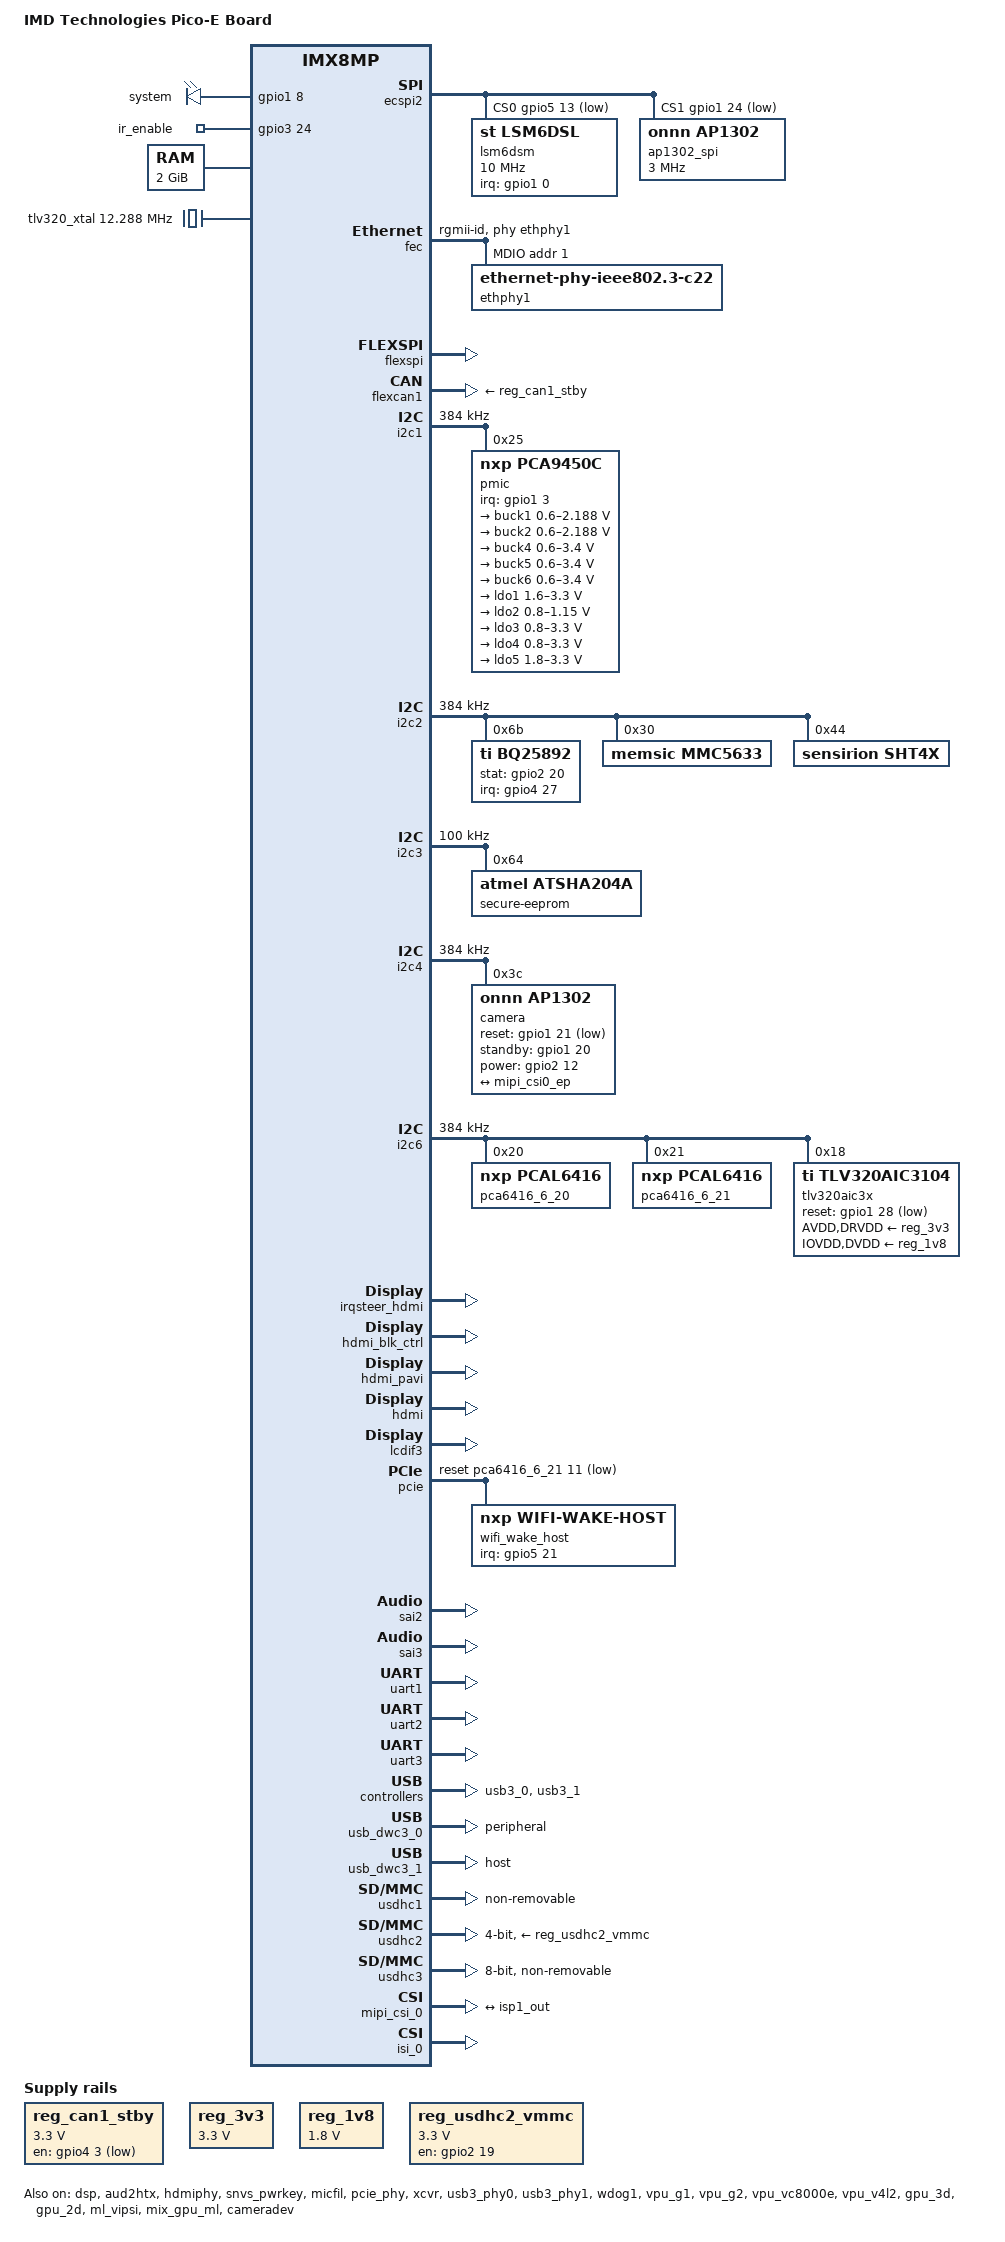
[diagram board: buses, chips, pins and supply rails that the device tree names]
// SPDX-License-Identifier: (GPL-2.0+ OR MIT)
/*
 * Copyright 2019 NXP
 * Copyright 2022 IMD Technologies
 */

/dts-v1/;

#include <dt-bindings/usb/pd.h>
#include "imx8mp.dtsi"

/ {
	model = "IMD Technologies Pico-E Board";
	compatible = "imdt,imx8mp-imdt-pico-e", "fsl,imx8mp";

	chosen {
		stdout-path = &uart2;
	};

	gpio-leds {
		compatible = "gpio-leds";
		pinctrl-names = "default";
		pinctrl-0 = <&pinctrl_gpio_led>;

		system {
			label = "system";
			gpios = <&gpio1 8 GPIO_ACTIVE_HIGH>;
			default-state = "on";
		};

		ir_enable {
			label = "ir_enable";
			gpios = <&gpio3 24 GPIO_ACTIVE_HIGH>;
			default-state = "off";
		};
	};

	memory@40000000 {
		device_type = "memory";
		reg = <0x0 0x40000000 0 0x80000000>;
	};

	resmem: reserved-memory {
		#address-cells = <2>;
		#size-cells = <2>;
		ranges;

		/* global autoconfigured region for contiguous allocations */
		linux,cma {
			compatible = "shared-dma-pool";
			reusable;
			size = <0 0x20000000>;
			alloc-ranges = <0 0x40000000 0 0x80000000>;
			linux,cma-default;
		};
	};

	reg_can1_stby: regulator-can1-stby {
		compatible = "regulator-fixed";
		regulator-name = "can1-stby";
		pinctrl-names = "default";
		pinctrl-0 = <&pinctrl_flexcan1_reg>;
		regulator-min-microvolt = <3300000>;
		regulator-max-microvolt = <3300000>;
		gpio = <&gpio4 3 GPIO_ACTIVE_LOW>;
	};

	reg_3v3: regulator-3v3 {
		compatible = "regulator-fixed";
		regulator-name = "REG_3V3";
		regulator-min-microvolt = <3300000>;
		regulator-max-microvolt = <3300000>;
		regulator-always-on;
	};

	reg_1v8: regulator-1v8 {
		compatible = "regulator-fixed";
		regulator-name = "REG_1v8";
		regulator-min-microvolt = <1800000>;
		regulator-max-microvolt = <1800000>;
		regulator-always-on;
	};


	reg_usdhc2_vmmc: regulator-usdhc2 {
		compatible = "regulator-fixed";
		pinctrl-names = "default";
		pinctrl-0 = <&pinctrl_reg_usdhc2_vmmc>;
		regulator-name = "VSD_3V3";
		regulator-min-microvolt = <3300000>;
		regulator-max-microvolt = <3300000>;
		gpio = <&gpio2 19 GPIO_ACTIVE_HIGH>;
		enable-active-high;
	};
/*
	amp: analog-amplifier {
		compatible = "simple-audio-amplifier";
		enable-gpios = <&gpio 17 0>;
		VCC-supply = <&vdd_3v3_reg>;
	};
*/
	
	sound-hdmi {
		compatible = "fsl,imx-audio-cdnhdmi";
		model = "audio-hdmi";
		audio-cpu = <&aud2htx>;
		hdmi-out;
		constraint-rate = <44100>,
				<88200>,
				<176400>,
				<32000>,
				<48000>,
				<96000>,
				<192000>;
		status = "okay";
	};
	
	sound-micfil {
		compatible = "fsl,imx-audio-micfil";
		model = "imx-audio-micfil";
		cpu-dai = <&micfil>;
	};

	sound-xcvr {
		compatible = "fsl,imx-audio-xcvr";
		model = "imx-audio-xcvr";
		cpu-dai = <&xcvr>;
	};


	tlv320_xtal: tlv320_xtal {
		compatible = "fixed-clock";
		#clock-cells = <0>;
		clock-frequency = <12288000>;
	};

	sound-tlv320{
		compatible = "simple-audio-card";
		simple-audio-card,name = "sound-card-tlv320aic3101";
		simple-audio-card,format = "i2s";
		simple-audio-card,bitclock-master = <&dailink_master>;
		simple-audio-card,frame-master = <&dailink_master>;
		simple-audio-card,widgets =
			"Microphone", "Microphone Jack",
			"Headphone", "Headphone Jack";
		simple-audio-card,routing =
			"Headphone Jack", "HPLOUT",
			"Headphone Jack", "HPROUT",
			"MIC2R", "Microphone Jack",
			"Microphone Jack", "Mic Bias";

		simple-audio-card,cpu {
			sound-dai = <&sai3>;
		};

		dailink_master: simple-audio-card,codec {
			sound-dai = <&tlv320aic3x>;
		};
	};

};


&A53_0 {
	cpu-supply = <&buck2>;
};

&A53_1 {
	cpu-supply = <&buck2>;
};

&A53_2 {
	cpu-supply = <&buck2>;
};

&A53_3 {
	cpu-supply = <&buck2>;
};

&dsp {
	status = "okay";
};

&pwm1 {
	status = "disabled";
};

&pwm2 {
	status = "disabled";
};

&pwm4 {
	status = "disabled";
};

&aud2htx {
	status = "okay";
};

&ecspi2 {
	#address-cells = <1>;
	#size-cells = <0>;
	fsl,spi-num-chipselects = <2>;
	pinctrl-names = "default";
	pinctrl-0 = <&pinctrl_ecspi2 &pinctrl_ecspi2_cs>;
	cs-gpios = <&gpio5 13 GPIO_ACTIVE_LOW>, <&gpio1 24 GPIO_ACTIVE_LOW>;
	status = "okay";

	/* IMU */
	lsm6dsm {
		compatible = "st,lsm6dsl";
		reg = <0>;
		pinctrl-0 = <&pinctrl_imu>;
		spi-max-frequency = <10000000>;
		interrupt-parent = <&gpio1>;
		interrupts = <0 IRQ_TYPE_EDGE_RISING>;
		st,drdy-int-pin = <1>;
	};


	ap1302_spi {
		compatible = "onnn,ap1302";
		spi-max-frequency = <3000000>;
		reg = <1>;
	};
};

&fec {
	pinctrl-names = "default";
	pinctrl-0 = <&pinctrl_fec>;
	phy-mode = "rgmii-id";
	phy-handle = <&ethphy1>;
	fsl,magic-packet;
	status = "okay";

	mdio {
		#address-cells = <1>;
		#size-cells = <0>;

		ethphy1: ethernet-phy@1 {
			compatible = "ethernet-phy-ieee802.3-c22";
			reg = <1>;
			eee-broken-1000t;
			rtl821x,clkout-disable;
		};
	};
};

&flexspi {
	pinctrl-names = "default";
	pinctrl-0 = <&pinctrl_flexspi0>;
	status = "okay";
};


&flexcan1 {
	pinctrl-names = "default";
	pinctrl-0 = <&pinctrl_flexcan1>;
	xceiver-supply = <&reg_can1_stby>;
	status = "okay";
};

&i2c1 {
	clock-frequency = <384000>;
	pinctrl-names = "default";
	pinctrl-0 = <&pinctrl_i2c1>;
	status = "okay";

	pmic: pca9450@25 {
		reg = <0x25>;
		compatible = "nxp,pca9450c";
		/* PMIC PCA9450 PMIC_nINT GPIO1_IO3 */
		pinctrl-0 = <&pinctrl_pmic>;
		interrupt-parent = <&gpio1>;
		interrupts = <3 GPIO_ACTIVE_LOW>;

		regulators {
			buck1: BUCK1 {
				regulator-name = "BUCK1";
				regulator-min-microvolt = <600000>;
				regulator-max-microvolt = <2187500>;
				regulator-boot-on;
				regulator-always-on;
				regulator-ramp-delay = <3125>;
			};

			buck2: BUCK2 {
				regulator-name = "BUCK2";
				regulator-min-microvolt = <600000>;
				regulator-max-microvolt = <2187500>;
				regulator-boot-on;
				regulator-always-on;
				regulator-ramp-delay = <3125>;
				nxp,dvs-run-voltage = <950000>;
				nxp,dvs-standby-voltage = <850000>;
			};

			buck4: BUCK4{
				regulator-name = "BUCK4";
				regulator-min-microvolt = <600000>;
				regulator-max-microvolt = <3400000>;
				regulator-boot-on;
				regulator-always-on;
			};

			buck5: BUCK5{
				regulator-name = "BUCK5";
				regulator-min-microvolt = <600000>;
				regulator-max-microvolt = <3400000>;
				regulator-boot-on;
				regulator-always-on;
			};

			buck6: BUCK6 {
				regulator-name = "BUCK6";
				regulator-min-microvolt = <600000>;
				regulator-max-microvolt = <3400000>;
				regulator-boot-on;
				regulator-always-on;
			};

			ldo1: LDO1 {
				regulator-name = "LDO1";
				regulator-min-microvolt = <1600000>;
				regulator-max-microvolt = <3300000>;
				regulator-boot-on;
				regulator-always-on;
			};

			ldo2: LDO2 {
				regulator-name = "LDO2";
				regulator-min-microvolt = <800000>;
				regulator-max-microvolt = <1150000>;
				regulator-boot-on;
				regulator-always-on;
			};

			ldo3: LDO3 {
				regulator-name = "LDO3";
				regulator-min-microvolt = <800000>;
				regulator-max-microvolt = <3300000>;
				regulator-boot-on;
				regulator-always-on;
			};

			ldo4: LDO4 {
				regulator-name = "LDO4";
				regulator-min-microvolt = <800000>;
				regulator-max-microvolt = <3300000>;
				regulator-boot-on;
				regulator-always-on;
			};

			ldo5: LDO5 {
				regulator-name = "LDO5";
				regulator-min-microvolt = <1800000>;
				regulator-max-microvolt = <3300000>;
				regulator-boot-on;
				regulator-always-on;
			};
		};
	};
};

&i2c2 {
	clock-frequency = <384000>;
	pinctrl-names = "default";
	pinctrl-0 = <&pinctrl_i2c2>;
	status = "okay";

	bq25892 {
		compatible = "ti,bq25892";
		reg = <0x6b>;
		pinctrl-0 = <&pinctrl_bq25892>;

		interrupt-parent = <&gpio4>;
		interrupts = <27 IRQ_TYPE_EDGE_FALLING>;

		stat-gpios = <&gpio2 20 GPIO_ACTIVE_HIGH>;

		ti,battery-regulation-voltage = <4200000>;
		ti,charge-current = <1000000>;
		ti,termination-current = <50000>;
		ti,precharge-current = <128000>;
		ti,minimum-sys-voltage = <3600000>;
		ti,boost-voltage = <5000000>;
		ti,boost-max-current = <500000>;

		ti,use-ilim-pin;
		ti,thermal-regulation-threshold = <120>;
	};

	mmc5633 {
		compatible = "memsic,mmc5633";
		reg = <0x30>;
	};

	sht4x {
		compatible = "sensirion,sht4x";
		reg = <0x44>;
	};
};

&i2c3 {
	clock-frequency = <100000>;
	pinctrl-names = "default";
	pinctrl-0 = <&pinctrl_i2c3>;
	status = "okay";

	secure-eeprom@64 {
		compatible = "atmel,atsha204a";
		reg = <0x64>;
	};
};

&i2c4 {
	clock-frequency = <384000>;
	pinctrl-names = "default";
	pinctrl-0 = <&pinctrl_i2c4>;
	status = "okay";

	camera@3c {
		compatible = "onnn,ap1302";
		reg = <0x3c>;

		pinctrl-names = "default";
		pinctrl-0 = <&pinctrl_csi0_pwn>, <&pinctrl_csi0_stby>, <&pinctrl_csi0_rst>, <&pinctrl_csi_mclk>;

		clocks = <&clk IMX8MP_CLK_IPP_DO_CLKO2>;
		clock-names = "csi_mclk";
		assigned-clocks = <&clk IMX8MP_CLK_IPP_DO_CLKO2>;
		assigned-clock-parents = <&clk IMX8MP_CLK_24M>;
		assigned-clock-rates = <24000000>;

		reset-gpios = <&gpio1 21 GPIO_ACTIVE_LOW>;
		standby-gpios = <&gpio1 20 GPIO_ACTIVE_HIGH>;
		power-gpios = <&gpio2 12 GPIO_ACTIVE_HIGH>;

		port {
			isp1_out: endpoint {
				remote-endpoint = <&mipi_csi0_ep>;
				data-lanes = <1 2 3 4>;
			};
		};

		sensors {
			#address-cells = <1>;
			#size-cells = <0>;

			onnn,model = "onnn,ar1335";

			sensor@0 {
				reg = <0>;
			};
		};
	};
};

&i2c5 {
	status = "disabled";
};

&i2c6 {
	clock-frequency = <384000>;
	pinctrl-names = "default";
	pinctrl-0 = <&pinctrl_i2c6>;
	status = "okay";

	pca6416_6_20: gpio@20 {
		compatible = "nxp,pcal6416";
		reg = <0x20>;
		gpio-controller;
		#gpio-cells = <2>;

		gpio-line-names =
			"RGMII_CONN_GPIO0",
			"RGMII_CONN_GPIO1",
			"GBE_RSTn",
			"GBE_nINT",
			"TP657",
			"RS232_DIS_3V3",
			"RS232_INVALIDn",
			"TP658",

			"PCIe_SEL_3V3",
			"D_AMP_FAULT",
			"D_AMP_Mute3V3",
			"HDMI_DISABLE",
			"HDMI_FAULT",
			"UART_SEL0",
			"UART_SEL1",
			"TP659";

		uart-sel0-hog {
			gpio-hog;
			gpios = <13 GPIO_ACTIVE_HIGH>;
			output-high;
		};

		uart-sel1-hog {
			gpio-hog;
			gpios = <14 GPIO_ACTIVE_HIGH>;
			output-low;
		};

		rs-dis-hog {
			gpio-hog;
			gpios = <5 GPIO_ACTIVE_HIGH>;
			output-low;
		};
	};

	pca6416_6_21: gpio@21 {
		compatible = "nxp,pcal6416";
		reg = <0x21>;
		gpio-controller;
		#gpio-cells = <2>;

		gpio-line-names =
			"M2B_CONFIG_0",
			"M2B_CONFIG_1",
			"M2B_CONFIG_2",
			"M2B_CONFIG_3",
			"M2B_CARD_ONOFFn",
			"M2B_PCIeRST",
			"M2B_PEWAKE_3V3n",
			"M2B_W_DISABLE2n",
			
			"M2B_WAKE_UP",
			"M2B_RSTn",
			"M2B_DPR",
			"M2B_FLIGHT_MODE",
			"M2E_PEWAKE_3V3",
			"M2E_PERST0",
			"M2E_BT_ENn",
			"M2E_WLAN_ENn";
	};

	tlv320aic3x: codec@18 {
		#sound-dai-cells = <0>;
		/* Our codec is 3101. much closer to the 3104, than using 3x*/
		compatible = "ti,tlv320aic3104";
		pinctrl-names = "default";
		pinctrl-0 = <&pinctrl_aud_codec_nrst>;
		clocks = <&tlv320_xtal>;
		reg = <0x18>;
		reset-gpios = <&gpio1 28 GPIO_ACTIVE_LOW>;
		ai3x-micbias-vg = <1>;
		AVDD-supply = <&reg_3v3>;
		IOVDD-supply = <&reg_1v8>;
		DRVDD-supply = <&reg_3v3>;
		DVDD-supply = <&reg_1v8>;
	};

};

&irqsteer_hdmi {
	status = "okay";
};

&hdmi_blk_ctrl {
	status = "okay";
};

&hdmi_pavi {
	status = "okay";
};

&hdmi {
	status = "okay";
};

&hdmiphy {
	status = "okay";
};

&lcdif1 {
	status = "disabled";
};

&lcdif2 {
	status = "disabled";
};

&lcdif3 {
	status = "okay";

	thres-low  = <1 2>;             /* (FIFO * 1 / 2) */
	thres-high = <3 4>;             /* (FIFO * 3 / 4) */
};


&ldb {
	status = "disabled";
};

&ldb_phy {
	status = "disabled";
};

&mipi_dsi {
	status = "disabled";
};

&snvs_pwrkey {
	status = "okay";
};
/*
&easrc {
	fsl,asrc-rate  = <48000>;
	status = "okay";
};
*/
&micfil {
	pinctrl-names = "default";
	pinctrl-0 = <&pinctrl_pdm>;
	assigned-clocks = <&clk IMX8MP_CLK_PDM>;
	assigned-clock-parents = <&clk IMX8MP_AUDIO_PLL1_OUT>;
	assigned-clock-rates = <196608000>;
	status = "okay";
};

&pcie{
	pinctrl-names = "default";
	/* pinctrl-0 = <&pinctrl_pcie>; */

	/* disable-gpio = <&pca6416_6_20 10 GPIO_ACTIVE_LOW>; */
	reset-gpio = <&pca6416_6_21 11 GPIO_ACTIVE_LOW>;
	ext_osc = <1>;
	clocks = <&clk IMX8MP_CLK_HSIO_ROOT>,
		 <&clk IMX8MP_CLK_PCIE_AUX>,
		 <&clk IMX8MP_CLK_HSIO_AXI>,
		 <&clk IMX8MP_CLK_PCIE_ROOT>;
	clock-names = "pcie", "pcie_aux", "pcie_phy", "pcie_bus";
	assigned-clocks = <&clk IMX8MP_CLK_HSIO_AXI>,
			  <&clk IMX8MP_CLK_PCIE_AUX>;
	assigned-clock-rates = <500000000>, <10000000>;
	assigned-clock-parents = <&clk IMX8MP_SYS_PLL2_500M>,
				 <&clk IMX8MP_SYS_PLL2_50M>;
	l1ss-disabled;
	status = "okay";

	wifi_wake_host {
		compatible = "nxp,wifi-wake-host";
		interrupt-parent = <&gpio5>;
		interrupts = <21 IRQ_TYPE_LEVEL_LOW>;
		interrupt-names = "host-wake";
	};
};

&pcie_ep{
	pinctrl-names = "default";
	/* pinctrl-0 = <&pinctrl_pcie>; */
	ext_osc = <1>;
	clocks = <&clk IMX8MP_CLK_HSIO_ROOT>,
		 <&clk IMX8MP_CLK_PCIE_AUX>,
		 <&clk IMX8MP_CLK_HSIO_AXI>,
		 <&clk IMX8MP_CLK_PCIE_ROOT>;
	clock-names = "pcie", "pcie_aux", "pcie_phy", "pcie_bus";
	assigned-clocks = <&clk IMX8MP_CLK_HSIO_AXI>,
			  <&clk IMX8MP_CLK_PCIE_AUX>;
	assigned-clock-rates = <500000000>, <10000000>;
	assigned-clock-parents = <&clk IMX8MP_SYS_PLL2_500M>,
				 <&clk IMX8MP_SYS_PLL2_50M>;
	status = "disabled";
};

&pcie_phy{
	ext_osc = <1>;
	status = "okay";
};

&sai2 {
	#sound-dai-cells = <0>;
	status = "okay";
};


&sai3 {
	#sound-dai-cells = <0>;
	pinctrl-names = "default";
	pinctrl-0 = <&pinctrl_sai3>;
	/*fsl,sai-mclk-direction-output;*/
	/*fsl,sai-synchronous;*/
	status = "okay";
};

&xcvr {
	#sound-dai-cells = <0>;
	status = "okay";
};

&sdma2 {
	status = "okay";
};

&uart1 {
	/* Bluetooth */
	pinctrl-names = "default";
	pinctrl-0 = <&pinctrl_uart1>;
	assigned-clocks = <&clk IMX8MP_CLK_UART1>;
	assigned-clock-parents = <&clk IMX8MP_SYS_PLL1_80M>;
	fsl,uart-has-rtscts;
	status = "okay";
};

&uart2 {
	/* Serial console */
	pinctrl-names = "default";
	pinctrl-0 = <&pinctrl_uart2>;
	status = "okay";
};

&uart3 {
	/* Cellular */
	pinctrl-names = "default";
	pinctrl-0 = <&pinctrl_uart3>;
	assigned-clocks = <&clk IMX8MP_CLK_UART3>;
	assigned-clock-parents = <&clk IMX8MP_SYS_PLL1_80M>;
	status = "okay";
};

&usb3_phy0 {
	fsl,phy-tx-vref-tune = <0xe>;
	fsl,phy-tx-preemp-amp-tune = <3>;
	fsl,phy-tx-vboost-level = <5>;
	fsl,phy-comp-dis-tune = <7>;
	fsl,pcs-tx-deemph-3p5db = <0x21>;
	fsl,phy-pcs-tx-swing-full = <0x7f>;
	status = "okay";
};

&usb3_0 {
	status = "okay";
};

&usb_dwc3_0 {
	dr_mode = "peripheral";
	hnp-disable;
	srp-disable;
	adp-disable;
	status = "okay";
};

&usb3_phy1 {
	fsl,phy-tx-preemp-amp-tune = <3>;
	fsl,phy-tx-vref-tune = <0xb>;
	status = "okay";
};

&usb3_1 {
	status = "okay";
};

&usb_dwc3_1 {
	pinctrl-names = "default";
	pinctrl-0 = <&pinctrl_usb1_vbus>;
	dr_mode = "host";
	status = "okay";
};

&usdhc1 {
	pinctrl-assert-gpios = <&gpio1 16 GPIO_ACTIVE_HIGH>;
	pinctrl-names = "default", "state_100mhz", "state_200mhz";
	pinctrl-0 = <&pinctrl_usdhc1>;
	pinctrl-1 = <&pinctrl_usdhc1_100mhz>;
	pinctrl-2 = <&pinctrl_usdhc1_200mhz>;
	keep-power-in-suspend;
	non-removable;
	wakeup-source;
	/*mmc-pwrseq = <&usdhc1_pwrseq>;*/
	fsl,sdio-interrupt-enabled;
	status = "okay";
};


&usdhc2 {
	/* Micro SD card */
	assigned-clocks = <&clk IMX8MP_CLK_USDHC2>;
	assigned-clock-rates = <400000000>;
	pinctrl-names = "default", "state_100mhz", "state_200mhz";
	pinctrl-0 = <&pinctrl_usdhc2>;
	pinctrl-1 = <&pinctrl_usdhc2_100mhz>;
	pinctrl-2 = <&pinctrl_usdhc2_200mhz>;
	vmmc-supply = <&reg_usdhc2_vmmc>;
	bus-width = <4>;
	status = "okay";
};

&usdhc3 {
	/* eMMC */
	assigned-clocks = <&clk IMX8MP_CLK_USDHC3>;
	assigned-clock-rates = <400000000>;
	pinctrl-names = "default", "state_100mhz", "state_200mhz";
	pinctrl-0 = <&pinctrl_usdhc3>;
	pinctrl-1 = <&pinctrl_usdhc3_100mhz>;
	pinctrl-2 = <&pinctrl_usdhc3_200mhz>;
	bus-width = <8>;
	non-removable;
	status = "okay";
};

&wdog1 {
	pinctrl-names = "default";
	pinctrl-0 = <&pinctrl_wdog>;
	fsl,ext-reset-output;
	status = "okay";
};

&iomuxc {
	pinctrl-names = "default";
	pinctrl-0 = <&pinctrl_hog>;

	pinctrl_hog: hoggrp {
		fsl,pins = <
			MX8MP_IOMUXC_HDMI_DDC_SCL__HDMIMIX_HDMI_SCL	0x400001c3
			MX8MP_IOMUXC_HDMI_DDC_SDA__HDMIMIX_HDMI_SDA	0x400001c3
			MX8MP_IOMUXC_HDMI_HPD__HDMIMIX_HDMI_HPD		0x40000019
			MX8MP_IOMUXC_HDMI_CEC__HDMIMIX_HDMI_CEC		0x40000019
			MX8MP_IOMUXC_GPIO1_IO05__GPIO1_IO05		0x106 /* PER_PD_DIS:  Power for Peripherals domain. Should be low (0x106). */
			MX8MP_IOMUXC_SAI1_RXD0__GPIO4_IO02		0x146 /* M2_PD_EN: M.2 Power enable, (set high to enable 0x146). */
			MX8MP_IOMUXC_SAI2_TXFS__GPIO4_IO24		0x06  /*m2e coex?*/
		>;
	};

	pinctrl_ecspi2: ecspi2grp {
		fsl,pins = <
			MX8MP_IOMUXC_ECSPI2_SCLK__ECSPI2_SCLK		0x82
			MX8MP_IOMUXC_ECSPI2_MOSI__ECSPI2_MOSI		0x82
			MX8MP_IOMUXC_ECSPI2_MISO__ECSPI2_MISO		0x82
		>;
	};

	pinctrl_ecspi2_cs: ecspi2cs {
		fsl,pins = <
			MX8MP_IOMUXC_ECSPI2_SS0__GPIO5_IO13		0x40000
			MX8MP_IOMUXC_ENET_RX_CTL__GPIO1_IO24		0x40000
		>;
	};
	
	pinctrl_fec: fecgrp {
		fsl,pins = <
			MX8MP_IOMUXC_SAI1_RXD2__ENET1_MDC		0x3
			MX8MP_IOMUXC_SAI1_RXD3__ENET1_MDIO		0x3
			MX8MP_IOMUXC_SAI1_RXD4__ENET1_RGMII_RD0		0x91
			MX8MP_IOMUXC_SAI1_RXD5__ENET1_RGMII_RD1		0x91
			MX8MP_IOMUXC_SAI1_RXD6__ENET1_RGMII_RD2		0x91
			MX8MP_IOMUXC_SAI1_RXD7__ENET1_RGMII_RD3		0x91
			MX8MP_IOMUXC_SAI1_TXC__ENET1_RGMII_RXC		0x91
			MX8MP_IOMUXC_SAI1_TXFS__ENET1_RGMII_RX_CTL	0x91
			MX8MP_IOMUXC_SAI1_TXD0__ENET1_RGMII_TD0		0x1f
			MX8MP_IOMUXC_SAI1_TXD1__ENET1_RGMII_TD1		0x1f
			MX8MP_IOMUXC_SAI1_TXD2__ENET1_RGMII_TD2		0x1f
			MX8MP_IOMUXC_SAI1_TXD3__ENET1_RGMII_TD3		0x1f
			MX8MP_IOMUXC_SAI1_TXD4__ENET1_RGMII_TX_CTL	0x1f
			MX8MP_IOMUXC_SAI1_TXD5__ENET1_RGMII_TXC		0x1f
		>;
	};

	pinctrl_flexcan1: flexcan1grp {
		fsl,pins = <
			MX8MP_IOMUXC_SAI5_RXD2__CAN1_RX          0x154
			MX8MP_IOMUXC_SAI5_RXD1__CAN1_TX          0x154
		>;
	};


	pinctrl_flexcan1_reg: flexcan1reggrp {
		fsl,pins = <
			MX8MP_IOMUXC_SAI1_RXD1__GPIO4_IO03	0x154	/* CAN1_STBY */
		>;
	};

	pinctrl_flexspi0: flexspi0grp {
		fsl,pins = <
			MX8MP_IOMUXC_NAND_ALE__FLEXSPI_A_SCLK           0x1c2
			MX8MP_IOMUXC_NAND_CE0_B__FLEXSPI_A_SS0_B        0x82
			MX8MP_IOMUXC_NAND_DATA00__FLEXSPI_A_DATA00      0x82
			MX8MP_IOMUXC_NAND_DATA01__FLEXSPI_A_DATA01      0x82
		>;
	};

	pinctrl_gpio_led: gpioledgrp {
		fsl,pins = <
			MX8MP_IOMUXC_GPIO1_IO08__GPIO1_IO08		0x19
			MX8MP_IOMUXC_SAI5_RXD3__GPIO3_IO24		0x19
		>;
	};

	pinctrl_i2c1: i2c1grp {
		fsl,pins = <
			MX8MP_IOMUXC_I2C1_SCL__I2C1_SCL		0x400001c2
			MX8MP_IOMUXC_I2C1_SDA__I2C1_SDA		0x400001c2
		>;
	};

	pinctrl_i2c2: i2c2grp {
		fsl,pins = <
			MX8MP_IOMUXC_I2C2_SCL__I2C2_SCL		0x400001c2
			MX8MP_IOMUXC_I2C2_SDA__I2C2_SDA		0x400001c2
		>;
	};

	pinctrl_i2c3: i2c3grp {
		fsl,pins = <
			MX8MP_IOMUXC_I2C3_SCL__I2C3_SCL		0x400001c2
			MX8MP_IOMUXC_I2C3_SDA__I2C3_SDA		0x400001c2
		>;
	};

	pinctrl_i2c4: i2c4grp {
		fsl,pins = <
			MX8MP_IOMUXC_I2C4_SCL__I2C4_SCL		0x400001c2
			MX8MP_IOMUXC_I2C4_SDA__I2C4_SDA		0x400001c2
		>;
	};
/*
	pinctrl_i2c5: i2c5grp {
		fsl,pins = <
			MX8MP_IOMUXC_HDMI_DDC_SCL__I2C5_SCL		0x400001c2
			MX8MP_IOMUXC_HDMI_DDC_SDA__I2C5_SDA		0x400001c2
		>;
	};
*/
	pinctrl_i2c6: i2c6grp {
		fsl,pins = <
			MX8MP_IOMUXC_SAI5_RXFS__I2C6_SCL	0x400001c2
			MX8MP_IOMUXC_SAI5_RXC__I2C6_SDA		0x400001c2
		>;
	};

	pinctrl_pmic: pmicirq {
		fsl,pins = <
			MX8MP_IOMUXC_GPIO1_IO03__GPIO1_IO03	0x41
		>;
	};

	pinctrl_reg_usdhc2_vmmc: regusdhc2vmmcgrp {
		fsl,pins = <
			MX8MP_IOMUXC_SD2_RESET_B__GPIO2_IO19	0x41
		>;
	};

	pinctrl_bq25892: bq25892irq {
		fsl,pins = <
			MX8MP_IOMUXC_SAI2_MCLK__GPIO4_IO27		0x1c4
			MX8MP_IOMUXC_SD2_WP__GPIO2_IO20			0x1c4
		>;
	};

	pinctrl_imu: imuirq {
		fsl,pins = <
			MX8MP_IOMUXC_GPIO1_IO00__GPIO1_IO00		0x4
		>;
	};

	pinctrl_pdm: pdmgrp {
		fsl,pins = <
			MX8MP_IOMUXC_SAI3_RXC__AUDIOMIX_PDM_CLK			0xd6
			MX8MP_IOMUXC_SAI3_RXFS__AUDIOMIX_PDM_BIT_STREAM00	0xd6
		>;
	};

	pinctrl_sai3: sai3_grp {
		fsl,pins = <
			MX8MP_IOMUXC_SAI3_TXFS__AUDIOMIX_SAI3_TX_SYNC		0xd6
			MX8MP_IOMUXC_SAI3_TXC__AUDIOMIX_SAI3_TX_BCLK		0xd6
			MX8MP_IOMUXC_SAI3_RXD__AUDIOMIX_SAI3_RX_DATA00		0xd6
			MX8MP_IOMUXC_SAI3_TXD__AUDIOMIX_SAI3_TX_DATA00		0xd6
			MX8MP_IOMUXC_SAI3_MCLK__AUDIOMIX_SAI3_MCLK		0xd6
		>;
	};

	pinctrl_uart1: uart1grp {
		fsl,pins = <
			MX8MP_IOMUXC_UART1_RXD__UART1_DCE_RX	0x140
			MX8MP_IOMUXC_UART1_TXD__UART1_DCE_TX	0x140
			MX8MP_IOMUXC_UART3_RXD__UART1_DCE_CTS	0x140
			MX8MP_IOMUXC_UART3_TXD__UART1_DCE_RTS	0x140
		>;
	};

	pinctrl_uart2: uart2grp {
		fsl,pins = <
			MX8MP_IOMUXC_UART2_RXD__UART2_DCE_RX	0x49
			MX8MP_IOMUXC_UART2_TXD__UART2_DCE_TX	0x49
		>;
	};

	pinctrl_uart3: uart3grp {
		fsl,pins = <
			MX8MP_IOMUXC_SD1_DATA7__UART3_DCE_RX		0x140
			MX8MP_IOMUXC_SD1_DATA6__UART3_DCE_TX		0x140
		>;
	};

	pinctrl_usb1_vbus: usb1grp {
		fsl,pins = <
			MX8MP_IOMUXC_GPIO1_IO14__USB2_PWR		0x19
		>;
	};

	pinctrl_usdhc1: usdhc1grp {
		fsl,pins = <
			MX8MP_IOMUXC_SD1_CLK__USDHC1_CLK		0x190
			MX8MP_IOMUXC_SD1_CMD__USDHC1_CMD		0x1d0
			MX8MP_IOMUXC_SD1_DATA0__USDHC1_DATA0		0x1d0
			MX8MP_IOMUXC_SD1_DATA1__USDHC1_DATA1		0x1d0
			MX8MP_IOMUXC_SD1_DATA2__USDHC1_DATA2		0x1d0
			MX8MP_IOMUXC_SD1_DATA3__USDHC1_DATA3		0x1d0
		>;
	};

	pinctrl_usdhc1_100mhz: usdhc1-100mhzgrp {
		fsl,pins = <
			MX8MP_IOMUXC_SD1_CLK__USDHC1_CLK		0x194
			MX8MP_IOMUXC_SD1_CMD__USDHC1_CMD		0x1d4
			MX8MP_IOMUXC_SD1_DATA0__USDHC1_DATA0		0x1d4
			MX8MP_IOMUXC_SD1_DATA1__USDHC1_DATA1		0x1d4
			MX8MP_IOMUXC_SD1_DATA2__USDHC1_DATA2		0x1d4
			MX8MP_IOMUXC_SD1_DATA3__USDHC1_DATA3		0x1d4
		>;
	};

	pinctrl_usdhc1_200mhz: usdhc1-200mhzgrp {
		fsl,pins = <
			MX8MP_IOMUXC_SD1_CLK__USDHC1_CLK		0x196
			MX8MP_IOMUXC_SD1_CMD__USDHC1_CMD		0x1d6
			MX8MP_IOMUXC_SD1_DATA0__USDHC1_DATA0		0x1d6
			MX8MP_IOMUXC_SD1_DATA1__USDHC1_DATA1		0x1d6
			MX8MP_IOMUXC_SD1_DATA2__USDHC1_DATA2		0x1d6
			MX8MP_IOMUXC_SD1_DATA3__USDHC1_DATA3		0x1d6
		>;
	};

	pinctrl_usdhc2: usdhc2grp {
		fsl,pins = <
			MX8MP_IOMUXC_SD2_CLK__USDHC2_CLK		0x190
			MX8MP_IOMUXC_SD2_CMD__USDHC2_CMD		0x1d0
			MX8MP_IOMUXC_SD2_DATA0__USDHC2_DATA0		0x1d0
			MX8MP_IOMUXC_SD2_DATA1__USDHC2_DATA1		0x1d0
			MX8MP_IOMUXC_SD2_DATA2__USDHC2_DATA2		0x1d0
			MX8MP_IOMUXC_SD2_DATA3__USDHC2_DATA3		0x1d0
			MX8MP_IOMUXC_GPIO1_IO04__USDHC2_VSELECT		0xc1
		>;
	};

	pinctrl_usdhc2_100mhz: usdhc2-100mhzgrp {
		fsl,pins = <
			MX8MP_IOMUXC_SD2_CLK__USDHC2_CLK		0x194
			MX8MP_IOMUXC_SD2_CMD__USDHC2_CMD		0x1d4
			MX8MP_IOMUXC_SD2_DATA0__USDHC2_DATA0		0x1d4
			MX8MP_IOMUXC_SD2_DATA1__USDHC2_DATA1		0x1d4
			MX8MP_IOMUXC_SD2_DATA2__USDHC2_DATA2		0x1d4
			MX8MP_IOMUXC_SD2_DATA3__USDHC2_DATA3		0x1d4
			MX8MP_IOMUXC_GPIO1_IO04__USDHC2_VSELECT 	0xc1
		>;
	};

	pinctrl_usdhc2_200mhz: usdhc2-200mhzgrp {
		fsl,pins = <
			MX8MP_IOMUXC_SD2_CLK__USDHC2_CLK		0x196
			MX8MP_IOMUXC_SD2_CMD__USDHC2_CMD		0x1d6
			MX8MP_IOMUXC_SD2_DATA0__USDHC2_DATA0		0x1d6
			MX8MP_IOMUXC_SD2_DATA1__USDHC2_DATA1		0x1d6
			MX8MP_IOMUXC_SD2_DATA2__USDHC2_DATA2		0x1d6
			MX8MP_IOMUXC_SD2_DATA3__USDHC2_DATA3		0x1d6
			MX8MP_IOMUXC_GPIO1_IO04__USDHC2_VSELECT 	0xc1
		>;
	};

	pinctrl_usdhc3: usdhc3grp {
		fsl,pins = <
			MX8MP_IOMUXC_NAND_WE_B__USDHC3_CLK		0x190
			MX8MP_IOMUXC_NAND_WP_B__USDHC3_CMD		0x1d0
			MX8MP_IOMUXC_NAND_DATA04__USDHC3_DATA0		0x1d0
			MX8MP_IOMUXC_NAND_DATA05__USDHC3_DATA1		0x1d0
			MX8MP_IOMUXC_NAND_DATA06__USDHC3_DATA2		0x1d0
			MX8MP_IOMUXC_NAND_DATA07__USDHC3_DATA3		0x1d0
			MX8MP_IOMUXC_NAND_RE_B__USDHC3_DATA4		0x1d0
			MX8MP_IOMUXC_NAND_CE2_B__USDHC3_DATA5		0x1d0
			MX8MP_IOMUXC_NAND_CE3_B__USDHC3_DATA6		0x1d0
			MX8MP_IOMUXC_NAND_CLE__USDHC3_DATA7		0x1d0
			MX8MP_IOMUXC_NAND_CE1_B__USDHC3_STROBE		0x190
		>;
	};

	pinctrl_usdhc3_100mhz: usdhc3-100mhzgrp {
		fsl,pins = <
			MX8MP_IOMUXC_NAND_WE_B__USDHC3_CLK		0x194
			MX8MP_IOMUXC_NAND_WP_B__USDHC3_CMD		0x1d4
			MX8MP_IOMUXC_NAND_DATA04__USDHC3_DATA0		0x1d4
			MX8MP_IOMUXC_NAND_DATA05__USDHC3_DATA1		0x1d4
			MX8MP_IOMUXC_NAND_DATA06__USDHC3_DATA2		0x1d4
			MX8MP_IOMUXC_NAND_DATA07__USDHC3_DATA3		0x1d4
			MX8MP_IOMUXC_NAND_RE_B__USDHC3_DATA4		0x1d4
			MX8MP_IOMUXC_NAND_CE2_B__USDHC3_DATA5		0x1d4
			MX8MP_IOMUXC_NAND_CE3_B__USDHC3_DATA6		0x1d4
			MX8MP_IOMUXC_NAND_CLE__USDHC3_DATA7		0x1d4
			MX8MP_IOMUXC_NAND_CE1_B__USDHC3_STROBE		0x194
		>;
	};

	pinctrl_usdhc3_200mhz: usdhc3-200mhzgrp {
		fsl,pins = <
			MX8MP_IOMUXC_NAND_WE_B__USDHC3_CLK		0x196
			MX8MP_IOMUXC_NAND_WP_B__USDHC3_CMD		0x1d6
			MX8MP_IOMUXC_NAND_DATA04__USDHC3_DATA0		0x1d6
			MX8MP_IOMUXC_NAND_DATA05__USDHC3_DATA1		0x1d6
			MX8MP_IOMUXC_NAND_DATA06__USDHC3_DATA2		0x1d6
			MX8MP_IOMUXC_NAND_DATA07__USDHC3_DATA3		0x1d6
			MX8MP_IOMUXC_NAND_RE_B__USDHC3_DATA4		0x1d6
			MX8MP_IOMUXC_NAND_CE2_B__USDHC3_DATA5		0x1d6
			MX8MP_IOMUXC_NAND_CE3_B__USDHC3_DATA6		0x1d6
			MX8MP_IOMUXC_NAND_CLE__USDHC3_DATA7		0x1d6
			MX8MP_IOMUXC_NAND_CE1_B__USDHC3_STROBE		0x196
		>;
	};

	// WL_REG_ON
	pinctrl_usdhc1_gpio: usdhc1gpiogrp {
		fsl,pins = <
			MX8MP_IOMUXC_ENET_MDC__GPIO1_IO16	0x1c4
		>;
	};


	pinctrl_wdog: wdoggrp {
		fsl,pins = <
			MX8MP_IOMUXC_GPIO1_IO02__WDOG1_WDOG_B	0xc6
		>;
	};

	// WL_WAKE
	pinctrl_wlan_irq: wlangrp {
		fsl,pins = <
			MX8MP_IOMUXC_ENET_MDIO__GPIO1_IO17	0x19
		>;
	};

	// HR_CAM_EN
	pinctrl_csi0_pwn: csi0_pwn_grp {
		fsl,pins = <
			MX8MP_IOMUXC_SD2_CD_B__GPIO2_IO12	0x19
		>;
	};

	// ISP_STBY
	pinctrl_csi0_stby: csi0_stby_grp {
		fsl,pins = <
			MX8MP_IOMUXC_ENET_TD1__GPIO1_IO20	0x19
		>;
	};

	// ISP_RSTn
	pinctrl_csi0_rst: csi0_rst_grp {
		fsl,pins = <
			MX8MP_IOMUXC_ENET_TD0__GPIO1_IO21	0x19
		>;
	};

	pinctrl_csi_mclk: csi_mclk_grp {
		fsl,pins = <
			MX8MP_IOMUXC_GPIO1_IO15__CCM_CLKO2	0x59
		>;
	};

	pinctrl_aud_codec_nrst: aud_codec_nrst_grp {
		fsl,pins = <
			MX8MP_IOMUXC_ENET_RD2__GPIO1_IO28	0x6
		>;
	};

};

&vpu_g1 {
	status = "okay";
};

&vpu_g2 {
	status = "okay";
};

&vpu_vc8000e {
	status = "okay";
};

&vpu_v4l2 {
	status = "okay";
};

&gpu_3d {
	status = "okay";
};

&gpu_2d {
	status = "okay";
};

&ml_vipsi {
	status = "okay";
};

&mix_gpu_ml {
	reg = <0x0 0x40000000 0x0 0x80000000>, <0x0 0x0 0x0 0x8000000>;
	status = "okay";
};

&mipi_csi_0 {
	#address-cells = <1>;
	#size-cells = <0>;
	status = "okay";

	port@0 {
		reg = <0>;
		mipi_csi0_ep: endpoint {
			remote-endpoint = <&isp1_out>;
			data-lanes = <4>;
			csis-hs-settle = <13>;
			csis-clk-settle = <2>;
			csis-wclk;
		};
	};
};

&cameradev {
	status = "okay";
};

&isi_0 {
	status = "okay";

	cap_device {
		status = "okay";
	};

	m2m_device {
		status = "okay";
	};
};

&gpio3 {
       gpio-line-names =
       "","","","","","","","","","",
       "","","","","","","","","","",
       "","","","","","","","","","",
       "","";
};

&gpio4 {
       gpio-line-names =
       "","","","","","","","","","",
       "","","","","","","","","","",
       "ext_modem_sim_select","","","","","","","","","",
       "","";
};
